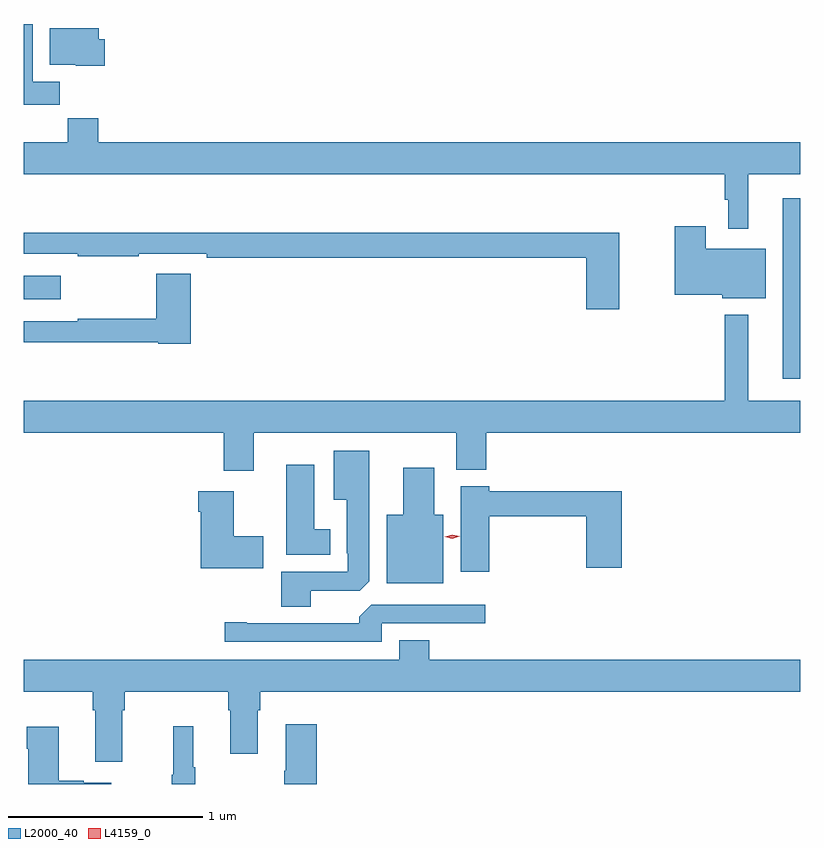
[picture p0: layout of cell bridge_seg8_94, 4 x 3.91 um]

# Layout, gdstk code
import gdstk
lib = gdstk.Library(unit=1e-6, precision=1e-09)
def R(c, l, rs):  # rectangles x0, y0, x1, y1
    for r in rs: c.add(gdstk.rectangle(r[:2], r[2:], *l))
def P(c, l, *ps):  # polygons
    for p in ps: c.add(gdstk.Polygon(p, *l))
L2000_40 = (2000, 40)
L4159_0 = (4159, 0)

bridge_seg8_94 = lib.new_cell('bridge_seg8_94')
R(bridge_seg8_94, L2000_40, [(783.059,1103.459,783.15,1104.388), (779.15,1103.867,779.341,1103.989)])
P(bridge_seg8_94, L2000_40, [(779.336,1104.988),(779.197,1104.988),(779.197,1105.285),(779.15,1105.285),(779.15,1104.87),(779.336,1104.87)],
  [(779.567,1105.206),(779.536,1105.206),(779.536,1105.264),(779.285,1105.264),(779.285,1105.076),(779.418,1105.076),(779.418,1105.07),(779.567,1105.07)],
  [(782.881,1104.512),(783.15,1104.512),(783.15,1104.676),(779.534,1104.676),(779.534,1104.8),(779.377,1104.8),(779.377,1104.676),(779.15,1104.676),(779.15,1104.512),(782.76,1104.512),(782.76,1104.38),(782.777,1104.38),(782.777,1104.231),(782.881,1104.231)],
  [(782.971,1104.127),(782.662,1104.127),(782.662,1104.244),(782.504,1104.244),(782.504,1103.891),(782.748,1103.891),(782.748,1103.873),(782.971,1103.873)],
  [(782.218,1104.211),(779.15,1104.211),(779.15,1104.102),(779.428,1104.102),(779.428,1104.09),(779.744,1104.09),(779.744,1104.102),(780.094,1104.102),(780.094,1104.082),(782.048,1104.082),(782.048,1103.817),(782.218,1103.817)],
  [(780.011,1103.998),(779.833,1103.998),(779.833,1103.767),(779.428,1103.767),(779.428,1103.754),(779.15,1103.754),(779.15,1103.646),(779.844,1103.646),(779.844,1103.638),(780.011,1103.638)],
  [(780.334,1103.18),(781.379,1103.18),(781.379,1102.991),(781.532,1102.991),(781.532,1103.18),(783.15,1103.18),(783.15,1103.344),(782.881,1103.344),(782.881,1103.788),(782.76,1103.788),(782.76,1103.344),(779.15,1103.344),(779.15,1103.18),(780.182,1103.18),(780.182,1102.986),(780.334,1102.986)],
  [(780.628,1102.368),(780.882,1102.368),(780.931,1102.417),(780.931,1103.089),(780.746,1103.089),(780.746,1102.835),(780.815,1102.835),(780.815,1102.561),(780.819,1102.561),(780.819,1102.464),(780.476,1102.464),(780.476,1102.285),(780.628,1102.285)],
  [(780.73,1102.684),(780.646,1102.684),(780.646,1103.017),(780.503,1103.017),(780.503,1102.553),(780.73,1102.553)],
  [(781.312,1102.759),(781.264,1102.759),(781.264,1102.999),(781.106,1102.999),(781.106,1102.759),(781.019,1102.759),(781.019,1102.406),(781.312,1102.406)],
  [(781.547,1102.75),(782.048,1102.75),(782.048,1102.485),(782.231,1102.485),(782.231,1102.879),(781.547,1102.879),(781.547,1102.906),(781.4,1102.906),(781.4,1102.464),(781.547,1102.464)],
  [(780.385,1102.647),(780.232,1102.647),(780.232,1102.879),(780.05,1102.879),(780.05,1102.775),(780.062,1102.775),(780.062,1102.484),(780.385,1102.484)],
  [(780.993,1102.2),(781.528,1102.2),(781.528,1102.296),(780.939,1102.296),(780.878,1102.234),(780.878,1102.2),(780.298,1102.2),(780.298,1102.205),(780.186,1102.205),(780.186,1102.104),(780.993,1102.104)],
  [(779.659,1101.752),(779.672,1101.752),(779.672,1101.848),(780.203,1101.848),(780.203,1101.752),(780.215,1101.752),(780.215,1101.528),(780.355,1101.528),(780.355,1101.752),(780.368,1101.752),(780.368,1101.848),(783.15,1101.848),(783.15,1102.012),(781.238,1102.012),(781.238,1102.111),(781.085,1102.111),(781.085,1102.012),(779.15,1102.012),(779.15,1101.848),(779.507,1101.848),(779.507,1101.752),(779.519,1101.752),(779.519,1101.486),(779.659,1101.486)],
  [(780.659,1101.679),(780.5,1101.679),(780.5,1101.44),(780.493,1101.44),(780.493,1101.372),(780.659,1101.372)],
  [(780.034,1101.457),(780.023,1101.457),(780.023,1101.67),(779.92,1101.67),(779.92,1101.42),(779.913,1101.42),(779.913,1101.372),(780.034,1101.372)],
  [(779.602,1101.379),(779.459,1101.379),(779.459,1101.389),(779.332,1101.389),(779.332,1101.667),(779.167,1101.667),(779.167,1101.554),(779.174,1101.554),(779.174,1101.372),(779.602,1101.372)])
P(bridge_seg8_94, L4159_0, [(781.357,1102.636),(781.319,1102.645),(781.319,1102.645),(781.319,1102.646),(781.357,1102.656),(781.395,1102.647),(781.396,1102.647),(781.395,1102.647)])

lib.write_gds('bridge_seg8_94.gds')
